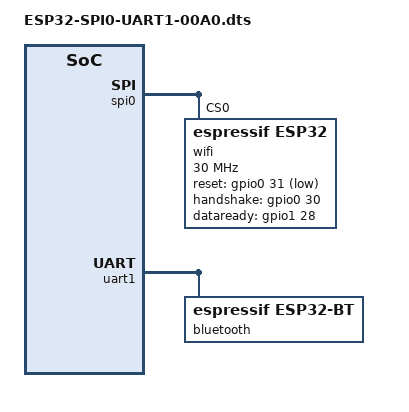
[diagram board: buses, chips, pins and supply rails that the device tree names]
// SPDX-License-Identifier: GPL-2.0-only
/*
 * Cape overlay for BeagleBone/BeagleBone Black
 */

/dts-v1/;
/plugin/;

#include <dt-bindings/gpio/gpio.h>
#include <dt-bindings/pinctrl/am33xx.h>
#include <dt-bindings/interrupt-controller/irq.h>

/*
 * Helper to show loaded overlays under: /proc/device-tree/chosen/overlays/
 */
&{/chosen} {
	overlays {
		ESP32-SPI0-UART1-00A0.kernel = __TIMESTAMP__;
	};
};

/*
 * Free up the pins used by the cape from the pinmux helpers.
 */
&ocp {
	// spi pins
	P9_17_pinmux { status = "disabled"; };	/* P9_17 (A16) spi0_cs0.spi0_cs0 */
	P9_18_pinmux { status = "disabled"; };	/* P9_18 (B16) spi0_d1.spi0_d1 */
	P9_21_pinmux { status = "disabled"; };	/* P9_21 (B17) spi0_d0.spi0_d0 */
	P9_22_pinmux { status = "disabled"; };	/* P9_22 (A17) spi0_sclk.spi0_sclk */

	// other gpio
        // handshake
	P9_11_pinmux { status = "disabled"; }; // gpio0[30]
        // data ready
	P9_12_pinmux { status = "disabled"; }; // gpio1[28]
        // esp32 reset
	P9_13_pinmux { status = "disabled"; }; // gpio0[31]

	// UART1
	P9_24_pinmux { status = "disabled"; }; // uart1 tx
	P9_26_pinmux { status = "disabled"; }; // uart1 rx
};

&am33xx_pinmux {
	bb_spi0_pins: pinmux_bb_spi0_pins {
		pinctrl-single,pins = <
			AM33XX_PADCONF(AM335X_PIN_SPI0_SCLK, PIN_INPUT, MUX_MODE0)		/* P9_22 (A17) spi0_sclk.spi0_sclk */
			AM33XX_PADCONF(AM335X_PIN_SPI0_D0, PIN_INPUT, MUX_MODE0)		/* P9_21 (B17) spi0_d0.spi0_d0 */
			AM33XX_PADCONF(AM335X_PIN_SPI0_D1, PIN_OUTPUT, MUX_MODE0)		/* P9_18 (B16) spi0_d1.spi0_d1 */
			AM33XX_PADCONF(AM335X_PIN_SPI0_CS0, PIN_OUTPUT_PULLUP, MUX_MODE0)	/* P9_17 (A16) spi0_cs0.spi0_cs0 */
		>;
	};

	bb_uart1_pins: pinmux_bb_uart1_pins {
		pinctrl-single,pins = <
			AM33XX_PADCONF(AM335X_PIN_UART1_TXD, PIN_OUTPUT, MUX_MODE0)		/* P9_24 (D15) uart1_txd.uart1_txd */
			AM33XX_PADCONF(AM335X_PIN_UART1_RXD, PIN_INPUT, MUX_MODE0)		/* P9_26 (D16) uart1_txd.uart1_rxd */
		>;
	};

	esp32_misc_pins: pinmux_esp32_misc_pins {
		pinctrl-single,pins = <
			// handshake pin (input irq)
			AM33XX_PADCONF(AM335X_PIN_GPMC_WAIT0, PIN_INPUT, MUX_MODE7)		/* P9_11 (T17) gpmc_wait0.gpio0_30 */
			// data ready (input irq)
			AM33XX_PADCONF(AM335X_PIN_GPMC_BEN1, PIN_INPUT, MUX_MODE7)		/* P9_12 (U18) gpmc_ben1.gpio1_28 */
			// reset (output and input)
			AM33XX_PADCONF(AM335X_PIN_GPMC_WPN, PIN_INPUT, MUX_MODE7)		/* P9_13 (U17) gpmc_wpn.gpio0_31 */
		>;
	};

};

&spi0 {
	#address-cells = <1>;
	#size-cells = <0>;

	status = "okay";
	pinctrl-names = "default";
	pinctrl-0 = <&bb_spi0_pins>;

	wifi@0 {
		#address-cells = <1>;
		#size-cells = <0>;

		compatible = "espressif,esp32";
	
		reg = <0>;
		spi-max-frequency = <30000000>;
		spi-cpol;

		reset-gpios = <&gpio0 31 GPIO_ACTIVE_LOW>;
		handshake-gpios = <&gpio0 30 GPIO_ACTIVE_HIGH>;
		dataready-gpios = <&gpio1 28 GPIO_ACTIVE_HIGH>;
	};
};

&uart1 {
	pinctrl-names = "default";
	pinctrl-0 = <&bb_uart1_pins>;

	status = "okay";

	bluetooth {
		compatible = "espressif,esp32-bt";
	};
};
